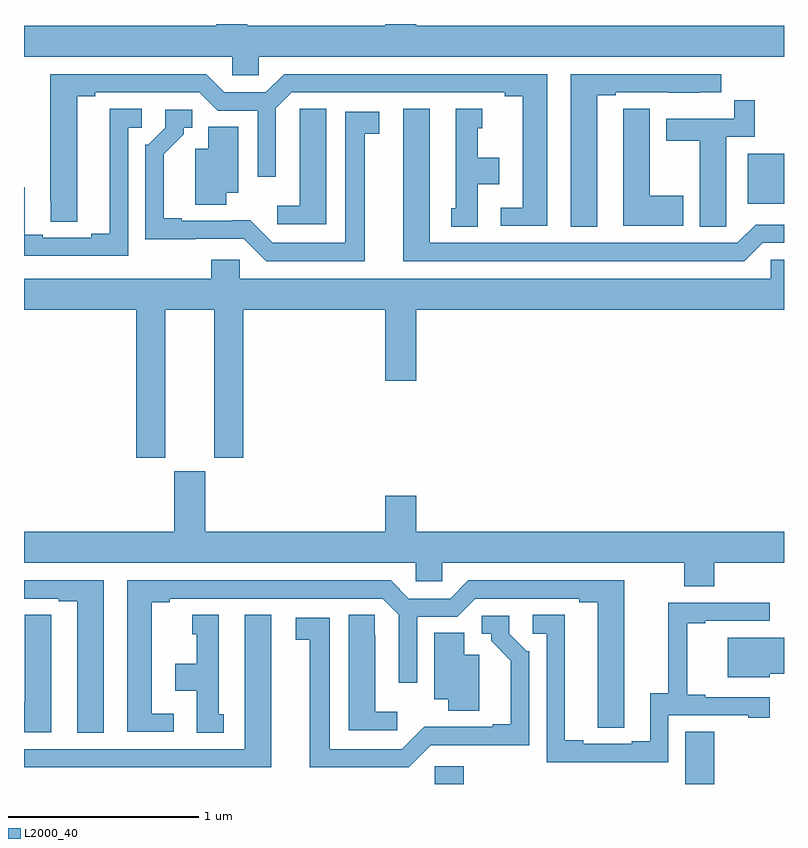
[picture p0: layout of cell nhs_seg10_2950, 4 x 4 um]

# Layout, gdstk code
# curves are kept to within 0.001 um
import gdstk
lib = gdstk.Library(unit=1e-6, precision=1e-09)
def R(c, l, rs):  # rectangles x0, y0, x1, y1
    for r in rs: c.add(gdstk.rectangle(r[:2], r[2:], *l))
def P(c, l, *ps):  # polygons
    for p in ps: c.add(gdstk.Polygon(p, *l))
L2000_40 = (2000, 40)

nhs_seg10_2950 = lib.new_cell('nhs_seg10_2950')
R(nhs_seg10_2950, L2000_40, [(273.162,1284.5,273.314,1284.594), (274.481,1284.5,274.634,1284.776), (274.808,1287.554,275,1287.817)])
P(nhs_seg10_2950, L2000_40, [(272.235,1288.328),(275,1288.328),(275,1288.492),(273.064,1288.492),(273.064,1288.5),(272.9,1288.5),(272.9,1288.492),(272.176,1288.492),(272.176,1288.5),(272.012,1288.5),(272.012,1288.492),(271,1288.492),(271,1288.328),(272.097,1288.328),(272.097,1288.23),(272.235,1288.23)],
  [(274.018,1288.125),(274.114,1288.125),(274.114,1288.14),(274.39,1288.14),(274.39,1288.139),(274.556,1288.139),(274.556,1288.14),(274.669,1288.14),(274.669,1288.236),(273.878,1288.236),(273.878,1287.433),(274.018,1287.433)],
  [(273.754,1288.236),(272.369,1288.236),(272.273,1288.14),(272.055,1288.14),(271.959,1288.236),(271.139,1288.236),(271.14,1287.46),(271.279,1287.46),(271.279,1288.12),(271.375,1288.12),(271.375,1288.14),(271.923,1288.14),(272.019,1288.044),(272.229,1288.044),(272.229,1287.696),(272.325,1287.696),(272.325,1288.056),(272.409,1288.14),(273.53,1288.14),(273.53,1288.12),(273.626,1288.12),(273.626,1287.534),(273.51,1287.534),(273.51,1287.438),(273.754,1287.438)],
  [(274.695,1287.544),(274.696,1287.544),(274.696,1287.906),(274.847,1287.906),(274.847,1288.099),(274.738,1288.099),(274.738,1288.002),(274.379,1288.002),(274.379,1287.886),(274.556,1287.886),(274.556,1287.433),(274.695,1287.433)],
  [(272.59,1288.055),(272.451,1288.055),(272.451,1287.947),(272.45,1287.947),(272.45,1287.544),(272.334,1287.544),(272.334,1287.447),(272.59,1287.447)],
  [(271.548,1287.954),(271.621,1287.954),(271.621,1288.055),(271.451,1288.055),(271.451,1287.395),(271.355,1287.395),(271.355,1287.375),(271.099,1287.375),(271.099,1287.39),(271.003,1287.39),(271.003,1287.641),(271,1287.641),(271,1287.279),(271.548,1287.279)],
  [(274.471,1287.597),(274.294,1287.597),(274.294,1288.055),(274.155,1288.055),(274.155,1287.947),(274.154,1287.947),(274.154,1287.437),(274.471,1287.437)],
  [(274.887,1287.348),(275,1287.348),(275,1287.444),(274.851,1287.444),(274.755,1287.348),(273.136,1287.348),(273.136,1288.054),(272.996,1288.054),(272.996,1287.252),(274.791,1287.252)],
  [(273.388,1287.656),(273.502,1287.656),(273.502,1287.796),(273.388,1287.796),(273.388,1287.951),(273.412,1287.951),(273.412,1288.054),(273.272,1288.054),(273.272,1287.531),(273.248,1287.531),(273.248,1287.433),(273.388,1287.433)],
  [(272.794,1287.922),(272.869,1287.922),(272.869,1288.038),(272.69,1288.038),(272.69,1287.348),(272.31,1287.348),(272.192,1287.466),(271.831,1287.465),(271.831,1287.478),(271.735,1287.478),(271.735,1287.814),(271.84,1287.919),(271.84,1287.954),(271.885,1287.954),(271.885,1288.05),(271.743,1288.05),(271.743,1287.954),(271.653,1287.864),(271.638,1287.864),(271.638,1287.368),(272.157,1287.369),(272.274,1287.252),(272.794,1287.252)],
  [(272.065,1287.611),(272.128,1287.611),(272.128,1287.959),(271.97,1287.959),(271.97,1287.844),(271.901,1287.844),(271.901,1287.55),(272.065,1287.55)],
  [(271.744,1286.996),(272,1286.996),(272,1286.217),(272.153,1286.217),(272.153,1286.996),(272.9,1286.996),(272.9,1286.622),(273.064,1286.622),(273.064,1286.996),(275,1286.996),(275,1287.258),(274.929,1287.258),(274.929,1287.16),(272.136,1287.16),(272.136,1287.258),(271.985,1287.258),(271.985,1287.16),(271,1287.16),(271,1286.996),(271.592,1286.996),(271.592,1286.217),(271.744,1286.217)],
  [(274.634,1285.664),(275,1285.664),(275,1285.828),(273.064,1285.828),(273.064,1286.017),(272.9,1286.017),(272.9,1285.828),(271.954,1285.828),(271.954,1286.145),(271.79,1286.145),(271.79,1285.828),(271,1285.828),(271,1285.664),(273.063,1285.664),(273.063,1285.566),(273.201,1285.566),(273.201,1285.664),(274.474,1285.664),(274.474,1285.54),(274.634,1285.54)],
  [(271.789,1284.87),(271.672,1284.87),(271.672,1285.456),(271.768,1285.456),(271.768,1285.476),(272.889,1285.476),(272.973,1285.392),(272.973,1285.032),(273.069,1285.032),(273.069,1285.38),(273.279,1285.38),(273.375,1285.476),(273.923,1285.476),(273.923,1285.456),(274.019,1285.456),(274.019,1284.796),(274.158,1284.796),(274.159,1285.572),(273.339,1285.572),(273.243,1285.476),(273.025,1285.476),(272.929,1285.572),(271.544,1285.572),(271.544,1284.774),(271.789,1284.774)],
  [(271.42,1285.572),(271,1285.572),(271,1285.476),(271.184,1285.476),(271.184,1285.461),(271.28,1285.461),(271.28,1284.769),(271.42,1284.769)],
  [(274.392,1284.861),(274.811,1284.861),(274.811,1284.849),(274.924,1284.849),(274.924,1284.957),(274.585,1284.957),(274.585,1284.97),(274.49,1284.97),(274.49,1285.347),(274.585,1285.347),(274.585,1285.359),(274.924,1285.359),(274.924,1285.455),(274.39,1285.455),(274.39,1284.977),(274.295,1284.977),(274.295,1284.726),(274.199,1284.726),(274.199,1284.711),(273.943,1284.711),(273.943,1284.731),(273.847,1284.731),(273.847,1285.391),(273.678,1285.391),(273.678,1285.29),(273.75,1285.29),(273.75,1284.615),(274.392,1284.615)],
  [(271.144,1285.283),(271.143,1285.283),(271.143,1285.391),(271.004,1285.391),(271.004,1284.933),(271,1284.933),(271,1284.773),(271.144,1284.773)],
  [(272.965,1284.88),(272.848,1284.88),(272.848,1285.283),(272.847,1285.283),(272.847,1285.391),(272.708,1285.391),(272.708,1284.783),(272.965,1284.783)],
  [(272.302,1285.39),(272.162,1285.39),(272.162,1284.684),(271,1284.684),(271,1284.588),(272.302,1284.588)],
  [(272.05,1284.867),(272.026,1284.867),(272.026,1285.39),(271.886,1285.39),(271.886,1285.287),(271.91,1285.287),(271.91,1285.132),(271.796,1285.132),(271.796,1284.992),(271.91,1284.992),(271.91,1284.769),(272.05,1284.769)],
  [(273.141,1284.705),(273.66,1284.704),(273.66,1285.2),(273.645,1285.2),(273.555,1285.29),(273.555,1285.386),(273.408,1285.386),(273.408,1285.29),(273.458,1285.29),(273.458,1285.255),(273.563,1285.15),(273.563,1284.814),(273.467,1284.814),(273.467,1284.801),(273.106,1284.802),(272.988,1284.684),(272.608,1284.684),(272.608,1285.374),(272.43,1285.374),(272.43,1285.258),(272.504,1285.258),(272.504,1284.588),(273.024,1284.588)],
  [(273.397,1285.18),(273.316,1285.18),(273.316,1285.295),(273.158,1285.295),(273.158,1284.947),(273.233,1284.947),(273.233,1284.886),(273.397,1284.886)],
  [(274.926,1285.079),(275,1285.079),(275,1285.27),(274.703,1285.27),(274.703,1285.061),(274.926,1285.061)])

lib.write_gds('nhs_seg10_2950.gds')
